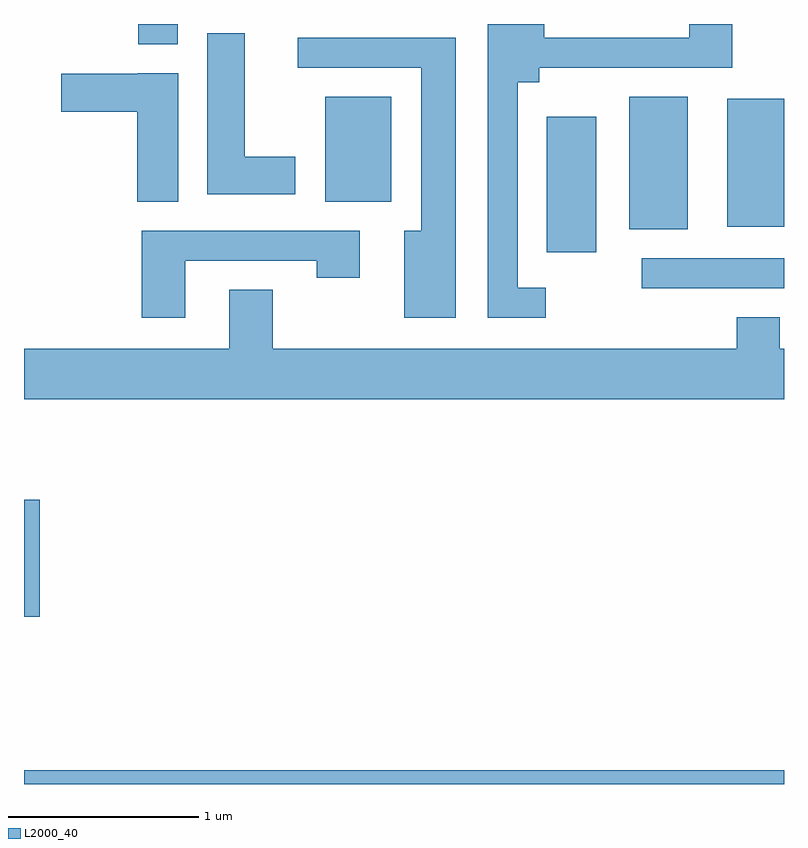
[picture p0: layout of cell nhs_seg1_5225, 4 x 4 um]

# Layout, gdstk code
import gdstk
lib = gdstk.Library(unit=1e-6, precision=1e-09)
def R(c, l, rs):  # rectangles x0, y0, x1, y1
    for r in rs: c.add(gdstk.rectangle(r[:2], r[2:], *l))
def P(c, l, *ps):  # polygons
    for p in ps: c.add(gdstk.Polygon(p, *l))
L2000_40 = (2000, 40)

nhs_seg1_5225 = lib.new_cell('nhs_seg1_5225')
R(nhs_seg1_5225, L2000_40, [(341.611,959.712,345.611,959.784), (341.611,960.591,341.694,961.209), (344.863,962.321,345.611,962.479), (344.361,962.511,344.624,963.224), (344.796,962.631,345.104,963.329), (345.311,962.646,345.611,963.319), (343.196,962.776,343.544,963.329), (342.211,963.606,342.419,963.712)])
P(nhs_seg1_5225, L2000_40, [(344.358,962.324),(344.209,962.324),(344.209,963.406),(344.324,963.406),(344.324,963.481),(345.339,963.481),(345.339,963.712),(345.111,963.712),(345.111,963.639),(344.349,963.639),(344.349,963.712),(344.051,963.712),(344.051,962.166),(344.358,962.166)],
  [(343.039,963.014),(342.774,963.014),(342.774,963.664),(342.576,963.664),(342.576,962.816),(343.039,962.816)],
  [(343.884,963.639),(343.053,963.639),(343.053,963.481),(343.701,963.481),(343.701,962.624),(343.611,962.624),(343.611,962.166),(343.884,962.166)],
  [(342.424,963.454),(342.21,963.454),(342.21,963.449),(341.806,963.449),(341.806,963.251),(342.206,963.251),(342.206,962.776),(342.424,962.776)],
  [(342.459,962.466),(343.151,962.466),(343.151,962.376),(343.379,962.376),(343.379,962.624),(342.231,962.624),(342.231,962.166),(342.459,962.166)],
  [(345.361,962.169),(345.361,962.004),(342.919,962.004),(342.919,962.314),(342.691,962.314),(342.691,962.004),(341.611,962.004),(341.611,961.736),(345.611,961.736),(345.611,962.004),(345.589,962.004),(345.589,962.169)])

lib.write_gds('nhs_seg1_5225.gds')
